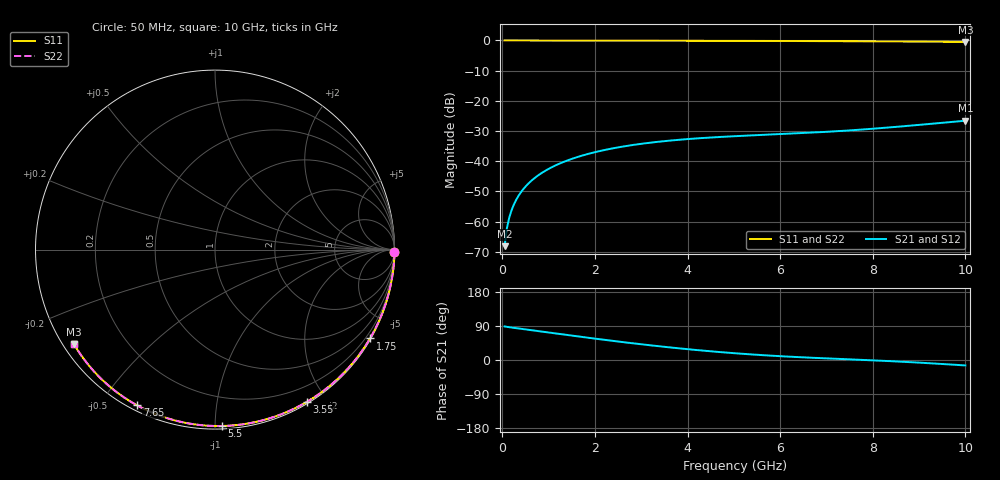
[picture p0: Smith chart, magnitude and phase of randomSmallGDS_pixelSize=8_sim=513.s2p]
! freq	dB(S11)	phase(S11)	dB(S12)	phase(S12)
!  dB(S21)	phase(S21)	dB(S22)	phase(S22)
!S-par simulation data
#  GHz  S  DB  R 50
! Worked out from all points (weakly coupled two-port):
!   200 points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, 50 MHz to 10 GHz, reference 50 ohm
!   highest |S21| = -26.58 dB at 10 GHz (marker M1); lowest = -68.1 dB at 50 MHz (marker M2)
!   lowest |S11| = -0.5 dB at 10 GHz (marker M3), VSWR 35.86, Z = 1.52 - j15.1 ohm
!   |S11| at or under -10 dB: nowhere
!   |S22| runs from -0.5 to 0.0 dB; largest |S21 - S12| = 0
!   S11 on the Smith chart (normalised r, x): 50 MHz: open; 1.75 GHz: 0.03, -3.76; 3.55 GHz: 0.02, -1.77; 5.5 GHz: 0.02, -1.04; 7.65 GHz: 0.02, -0.62; 10 GHz: 0.03, -0.30
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0.05  -0.00 -0.9  -68.13 88.6  -68.13 88.6  -0.00 -0.9
0.1  -0.00 -1.7  -62.16 87.5  -62.16 87.5  -0.00 -1.7
0.15  -0.00 -2.6  -58.70 86.5  -58.70 86.5  -0.00 -2.6
0.2  -0.00 -3.5  -56.24 85.6  -56.24 85.6  -0.00 -3.5
0.25  -0.00 -4.3  -54.34 84.8  -54.34 84.8  -0.00 -4.3
0.35  -0.00 -6.1  -51.46 83.2  -51.46 83.2  -0.00 -6.1
0.5  -0.01 -8.7  -48.41 80.8  -48.41 80.8  -0.01 -8.7
0.7  -0.01 -12.1  -45.54 77.6  -45.54 77.6  -0.01 -12.1
1  -0.02 -17.2  -42.54 72.6  -42.54 72.6  -0.02 -17.2
1.35  -0.03 -23.1  -40.07 66.9  -40.07 66.9  -0.03 -23.1
1.75  -0.04 -29.8  -38.02 60.4  -38.02 60.4  -0.04 -29.8
2.5  -0.06 -42.2  -35.41 48.8  -35.41 48.8  -0.06 -42.1
3.4  -0.08 -56.5  -33.50 36.1  -33.50 36.1  -0.08 -56.5
3.55  -0.08 -58.8  -33.27 34.1  -33.27 34.1  -0.08 -58.8
4.3  -0.10 -70.2  -32.34 25.1  -32.34 25.1  -0.10 -70.2
5.05  -0.13 -81.2  -31.69 17.6  -31.69 17.6  -0.13 -81.2
5.5  -0.14 -87.6  -31.37 13.7  -31.37 13.7  -0.14 -87.6
6.7  -0.20 -104.1  -30.52 5.8  -30.52 5.8  -0.20 -104.1
7.65  -0.26 -116.6  -29.63 0.9  -29.63 0.9  -0.26 -116.5
8.35  -0.32 -125.5  -28.82 -2.8  -28.82 -2.8  -0.32 -125.5
9.2  -0.40 -136.2  -27.69 -8.3  -27.69 -8.3  -0.40 -136.2
10  -0.48 -146.3  -26.58 -14.4  -26.58 -14.4  -0.48 -146.2
